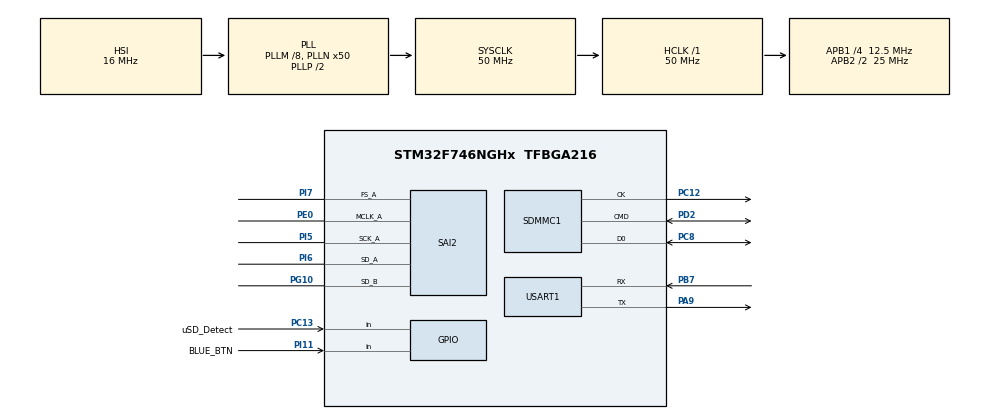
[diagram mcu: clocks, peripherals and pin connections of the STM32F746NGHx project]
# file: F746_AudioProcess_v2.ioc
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Dma.Request0=SDMMC1_RX
Dma.Request1=SDMMC1_TX
Dma.Request2=SAI2_A
Dma.Request3=SAI2_B
Dma.SAI2_A.2.Direction=DMA_MEMORY_TO_PERIPH
Dma.SAI2_A.2.FIFOMode=DMA_FIFOMODE_DISABLE
Dma.SAI2_A.2.Instance=DMA2_Stream4
Dma.SAI2_A.2.MemDataAlignment=DMA_MDATAALIGN_BYTE
Dma.SAI2_A.2.MemInc=DMA_MINC_ENABLE
Dma.SAI2_A.2.Mode=DMA_CIRCULAR
Dma.SAI2_A.2.PeriphDataAlignment=DMA_PDATAALIGN_BYTE
Dma.SAI2_A.2.PeriphInc=DMA_PINC_DISABLE
Dma.SAI2_A.2.Priority=DMA_PRIORITY_LOW
Dma.SAI2_B.3.Direction=DMA_PERIPH_TO_MEMORY
Dma.SAI2_B.3.FIFOMode=DMA_FIFOMODE_DISABLE
Dma.SAI2_B.3.Instance=DMA2_Stream7
Dma.SAI2_B.3.MemDataAlignment=DMA_MDATAALIGN_HALFWORD
Dma.SAI2_B.3.MemInc=DMA_MINC_ENABLE
Dma.SAI2_B.3.Mode=DMA_CIRCULAR
Dma.SAI2_B.3.PeriphDataAlignment=DMA_PDATAALIGN_HALFWORD
Dma.SAI2_B.3.PeriphInc=DMA_PINC_DISABLE
Dma.SAI2_B.3.Priority=DMA_PRIORITY_LOW
Dma.SDMMC1_RX.0.Direction=DMA_PERIPH_TO_MEMORY
Dma.SDMMC1_RX.0.FIFOMode=DMA_FIFOMODE_ENABLE
Dma.SDMMC1_RX.0.FIFOThreshold=DMA_FIFO_THRESHOLD_FULL
Dma.SDMMC1_RX.0.Instance=DMA2_Stream3
Dma.SDMMC1_RX.0.MemBurst=DMA_MBURST_INC4
Dma.SDMMC1_RX.0.MemDataAlignment=DMA_MDATAALIGN_WORD
Dma.SDMMC1_RX.0.MemInc=DMA_MINC_ENABLE
Dma.SDMMC1_RX.0.Mode=DMA_PFCTRL
Dma.SDMMC1_RX.0.PeriphBurst=DMA_PBURST_INC4
Dma.SDMMC1_RX.0.PeriphDataAlignment=DMA_PDATAALIGN_WORD
Dma.SDMMC1_RX.0.PeriphInc=DMA_PINC_DISABLE
Dma.SDMMC1_RX.0.Priority=DMA_PRIORITY_LOW
Dma.SDMMC1_TX.1.Direction=DMA_MEMORY_TO_PERIPH
Dma.SDMMC1_TX.1.FIFOMode=DMA_FIFOMODE_ENABLE
Dma.SDMMC1_TX.1.FIFOThreshold=DMA_FIFO_THRESHOLD_FULL
Dma.SDMMC1_TX.1.Instance=DMA2_Stream6
Dma.SDMMC1_TX.1.MemBurst=DMA_MBURST_INC4
Dma.SDMMC1_TX.1.MemDataAlignment=DMA_MDATAALIGN_WORD
Dma.SDMMC1_TX.1.MemInc=DMA_MINC_ENABLE
Dma.SDMMC1_TX.1.Mode=DMA_PFCTRL
Dma.SDMMC1_TX.1.PeriphBurst=DMA_PBURST_INC4
Dma.SDMMC1_TX.1.PeriphDataAlignment=DMA_PDATAALIGN_WORD
Dma.SDMMC1_TX.1.PeriphInc=DMA_PINC_DISABLE
Dma.SDMMC1_TX.1.Priority=DMA_PRIORITY_LOW
FATFS.BSP.number=1
FATFS.USE_DMA_CODE_SD=1
FATFS0.BSP.STBoard=false
FATFS0.BSP.api=Unknown
FATFS0.BSP.instance=PC13
FATFS0.BSP.ip=GPIO
FATFS0.BSP.mode=Input
FATFS0.BSP.name=Detect_SDIO
FATFS0.BSP.solution=PC13
Mcu.Family=STM32F7
Mcu.Name=STM32F746NGHx
Mcu.Package=TFBGA216
NVIC.DMA2_Stream3_IRQn=true\:0\:0\:false\:false\:true\:false\:true\:true
NVIC.DMA2_Stream4_IRQn=true\:0\:0\:false\:false\:true\:false\:true\:true
NVIC.DMA2_Stream6_IRQn=true\:0\:0\:false\:false\:true\:false\:true\:true
NVIC.DMA2_Stream7_IRQn=true\:0\:0\:false\:false\:true\:false\:true\:true
NVIC.PriorityGroup=NVIC_PRIORITYGROUP_4
NVIC.SDMMC1_IRQn=true\:0\:0\:false\:false\:true\:true\:true\:true
PA13.Mode=Serial_Wire
PA13.Signal=SYS_JTMS-SWDIO
PA14.Mode=Serial_Wire
PA14.Signal=SYS_JTCK-SWCLK
PA9.Mode=Asynchronous
PA9.Signal=USART1_TX
PB7.Mode=Asynchronous
PB7.Signal=USART1_RX
PC12.Mode=SD_1_bit
PC12.Signal=SDMMC1_CK
PC13.GPIO_Label=uSD_Detect
PC13.Signal=GPIO_Input
PC14/OSC32_IN.Mode=LSE-External-Oscillator
PC14/OSC32_IN.Signal=RCC_OSC32_IN
PC15/OSC32_OUT.Mode=LSE-External-Oscillator
PC15/OSC32_OUT.Signal=RCC_OSC32_OUT
PC8.Mode=SD_1_bit
PC8.Signal=SDMMC1_D0
PD2.Mode=SD_1_bit
PD2.Signal=SDMMC1_CMD
PE0.Mode=SAI_A_MasterWithClock
PE0.Signal=SAI2_MCLK_A
PG10.Mode=SAI_B_SyncSlave
PG10.Signal=SAI2_SD_B
PH0/OSC_IN.Mode=HSE-External-Oscillator
PH0/OSC_IN.Signal=RCC_OSC_IN
PH1/OSC_OUT.Mode=HSE-External-Oscillator
PH1/OSC_OUT.Signal=RCC_OSC_OUT
PI11.GPIO_Label=BLUE_BTN
PI11.Signal=GPIO_Input
PI5.Mode=SAI_A_MasterWithClock
PI5.Signal=SAI2_SCK_A
PI6.Mode=SAI_A_MasterWithClock
PI6.Signal=SAI2_SD_A
PI7.Mode=SAI_A_MasterWithClock
PI7.Signal=SAI2_FS_A
ProjectManager.HeapSize=0x400
ProjectManager.StackSize=0x800
ProjectManager.TargetToolchain=CMake
RCC.AHBFreq_Value=50000000
RCC.APB1CLKDivider=RCC_HCLK_DIV4
RCC.APB1Freq_Value=12500000
RCC.APB1TimFreq_Value=25000000
RCC.APB2CLKDivider=RCC_HCLK_DIV2
RCC.APB2Freq_Value=25000000
RCC.APB2TimFreq_Value=50000000
RCC.CortexFreq_Value=50000000
RCC.HCLKFreq_Value=50000000
RCC.HSE_VALUE=25000000
RCC.HSI_VALUE=16000000
RCC.PLLM=8
RCC.PLLN=50
RCC.PLLSAIN=50
RCC.PLLSourceVirtual=RCC_PLLSOURCE_HSI
RCC.SYSCLKFreq_VALUE=50000000
RCC.SYSCLKSource=RCC_SYSCLKSOURCE_PLLCLK
RCC.USBFreq_Value=50000000
RCC.VCOOutputFreq_Value=100000000
SAI2.ErrorAudioFreq-SAI_A_MasterWithClock=56.25 %
SAI2.Instance-SAI_A_MasterWithClock=SAI$Index_Block_A
SAI2.Instance-SAI_B_SyncSlave=SAI$Index_Block_B
SAI2.MClockEnable-SAI_A_MasterWithClock=SAI_MASTERCLOCK_ENABLE
SAI2.RealAudioFreq-SAI_A_MasterWithClock=300.0 KHz
SAI2.VirtualMode-SAI_A_MasterWithClock=VM_MASTER
SAI2.VirtualMode-SAI_B_SyncSlave=VM_SLAVE
USART1.VirtualMode-Asynchronous=VM_ASYNC
VP_FATFS_VS_SDIO.Mode=SDIO
VP_TIM1_VS_ClockSourceINT.Mode=Internal
board=STM32F746G-DISCO

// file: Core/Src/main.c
/* USER CODE BEGIN Header */
/**
 ******************************************************************************
 * @file           : main.c
 * @brief          : Main program body
 ******************************************************************************
 * @attention
 *
 * Copyright (c) 2024 STMicroelectronics.
 * All rights reserved.
 *
 * This software is licensed under terms that can be found in the LICENSE file
 * in the root directory of this software component.
 * If no LICENSE file comes with this software, it is provided AS-IS.
 *
 ******************************************************************************
 */
/* USER CODE END Header */
#include "main.h"
#include "dma.h"
#include "fatfs.h"
#include "sai.h"
#include "sdmmc.h"
#include "tim.h"
#include "usart.h"
#include "gpio.h"

/* USER CODE BEGIN Includes */
#include <string.h>
#include "wavutil.h"
/* USER CODE END Includes */

/* USER CODE BEGIN PV */
char *msg;
FRESULT fres;
AUDIO_IN_BufferTypeDef BufferInCtl;
AUDIO_OUT_BufferTypeDef BufferOutCtl;
WAVE_FormatTypeDef WaveFormat;
/* USER CODE END PV */

void SystemClock_Config(void);
void PeriphCommonClock_Config(void);

int main(void)
{

  /* MCU Configuration--------------------------------------------------------*/

  /* Reset of all peripherals, Initializes the Flash interface and the Systick. */
  HAL_Init();

  /* Configure the system clock */
  SystemClock_Config();

  /* Configure the peripherals common clocks */
  PeriphCommonClock_Config();

  /* Initialize all configured peripherals */
  MX_GPIO_Init();
  MX_DMA_Init();
  MX_SDMMC1_SD_Init();
  MX_TIM1_Init();
  MX_SAI2_Init();
  MX_USART1_UART_Init();
  MX_FATFS_Init();
  /* USER CODE BEGIN 2 */
  char *msg = "==== STM32F746-DISCO Audio Recording Test ====\n";
  HAL_UART_Transmit(&huart1, (uint8_t *)msg, strlen(msg), 0xFFF);
  if (f_mount(&SDFatFS, (TCHAR const *)SDPath, 0) != FR_OK)
  {
    msg = "SD Mount ERROR\n";
    HAL_UART_Transmit(&huart1, (uint8_t *)msg, strlen(msg), 0xFFF);
    Error_Handler();
  }
  else
  {
    msg = "SD Mount SUCCESS\n";
    HAL_UART_Transmit(&huart1, (uint8_t *)msg, strlen(msg), 0xFFF);
  }
  /* USER CODE END 2 */

  /* Infinite loop */
  /* USER CODE BEGIN WHILE */
  while (1)
  {
    msg = "==== Press Blue Button To Start Initializing ====\n";
    HAL_UART_Transmit(&huart1, (uint8_t *)msg, strlen(msg), 0xFFF);
    while (!HAL_GPIO_ReadPin(BLUE_BTN_GPIO_Port, BLUE_BTN_Pin))
    {
      // wait for blue button to be pressed
    }

    if (Audio_Rec_Start() != AUDIO_ERROR_NONE)
    {
      msg = "Writing Header ERROR\n";
      HAL_UART_Transmit(&huart1, (uint8_t *)msg, strlen(msg), 0xFFF);
      Error_Handler();
    }
    else
    {
      msg = "Writing Header Finished\n";
      HAL_UART_Transmit(&huart1, (uint8_t *)msg, strlen(msg), 0xFFF);

      msg = "Start Recording...\n";
      HAL_UART_Transmit(&huart1, (uint8_t *)msg, strlen(msg), 0xFFF);
      while (BufferInCtl.fptr <= REC_SAMPLE_LENGTH)
      {
        if (Audio_Rec_Process() != AUDIO_ERROR_NONE)
        {
          msg = "Recording ERROR\n";
          HAL_UART_Transmit(&huart1, (uint8_t *)msg, strlen(msg), 0xFFF);
          break;
        };
      }
    }
    msg = "Recording Finished\n";
    HAL_UART_Transmit(&huart1, (uint8_t *)msg, strlen(msg), 0xFFF);
    f_close(&SDFile); // close file

    msg = "Start To Playback File...\n";
    HAL_UART_Transmit(&huart1, (uint8_t *)msg, strlen(msg), 0xFFF);
    if (AUDIO_PLAYER_Start() != AUDIO_ERROR_NONE)
    {
      msg = "Playback Init ERROR\n";
      HAL_UART_Transmit(&huart1, (uint8_t *)msg, strlen(msg), 0xFFF);
      Error_Handler();
    }
    else
    {
      msg = "Start Playing\n";
      HAL_UART_Transmit(&huart1, (uint8_t *)msg, strlen(msg), 0xFFF);
      while (BufferOutCtl.fptr < WaveFormat.FileSize)
      {
        if (AUDIO_PLAYER_Process() != AUDIO_ERROR_NONE)
        {
          msg = "Playback ERROR\n";
          HAL_UART_Transmit(&huart1, (uint8_t *)msg, strlen(msg), 0xFFF);
          break;
        }
      }
    }

    msg = "Playback Finished\n";
    HAL_UART_Transmit(&huart1, (uint8_t *)msg, strlen(msg), 0xFFF);
    if (AUDIO_PLAYER_Stop() != AUDIO_ERROR_NONE)
    {
      msg = "Stop Player ERROR\n";
      HAL_UART_Transmit(&huart1, (uint8_t *)msg, strlen(msg), 0xFFF);
      Error_Handler();
    }
    f_close(&SDFile); // close file
    /* USER CODE END WHILE */

  }
}

void SystemClock_Config(void)
{
  RCC_OscInitTypeDef RCC_OscInitStruct = {0};
  RCC_ClkInitTypeDef RCC_ClkInitStruct = {0};

  /** Configure LSE Drive Capability
  */
  HAL_PWR_EnableBkUpAccess();

  /** Configure the main internal regulator output voltage
  */
  __HAL_RCC_PWR_CLK_ENABLE();
  __HAL_PWR_VOLTAGESCALING_CONFIG(PWR_REGULATOR_VOLTAGE_SCALE3);

  /** Initializes the RCC Oscillators according to the specified parameters
  * in the RCC_OscInitTypeDef structure.
  */
  RCC_OscInitStruct.OscillatorType = RCC_OSCILLATORTYPE_HSI;
  RCC_OscInitStruct.HSIState = RCC_HSI_ON;
  RCC_OscInitStruct.HSICalibrationValue = RCC_HSICALIBRATION_DEFAULT;
  RCC_OscInitStruct.PLL.PLLState = RCC_PLL_ON;
  RCC_OscInitStruct.PLL.PLLSource = RCC_PLLSOURCE_HSI;
  RCC_OscInitStruct.PLL.PLLM = 8;
  RCC_OscInitStruct.PLL.PLLN = 50;
  RCC_OscInitStruct.PLL.PLLP = RCC_PLLP_DIV2;
  RCC_OscInitStruct.PLL.PLLQ = 2;
  if (HAL_RCC_OscConfig(&RCC_OscInitStruct) != HAL_OK)
  {
    Error_Handler();
  }

  /** Initializes the CPU, AHB and APB buses clocks
  */
  RCC_ClkInitStruct.ClockType = RCC_CLOCKTYPE_HCLK|RCC_CLOCKTYPE_SYSCLK
                              |RCC_CLOCKTYPE_PCLK1|RCC_CLOCKTYPE_PCLK2;
  RCC_ClkInitStruct.SYSCLKSource = RCC_SYSCLKSOURCE_PLLCLK;
  RCC_ClkInitStruct.AHBCLKDivider = RCC_SYSCLK_DIV1;
  RCC_ClkInitStruct.APB1CLKDivider = RCC_HCLK_DIV4;
  RCC_ClkInitStruct.APB2CLKDivider = RCC_HCLK_DIV2;

  if (HAL_RCC_ClockConfig(&RCC_ClkInitStruct, FLASH_LATENCY_1) != HAL_OK)
  {
    Error_Handler();
  }
}

void PeriphCommonClock_Config(void)
{
  RCC_PeriphCLKInitTypeDef PeriphClkInitStruct = {0};

  /** Initializes the peripherals clock
  */
  PeriphClkInitStruct.PeriphClockSelection = RCC_PERIPHCLK_SAI2;
  PeriphClkInitStruct.PLLSAI.PLLSAIN = 50;
  PeriphClkInitStruct.PLLSAI.PLLSAIR = 2;
  PeriphClkInitStruct.PLLSAI.PLLSAIQ = 2;
  PeriphClkInitStruct.PLLSAI.PLLSAIP = RCC_PLLSAIP_DIV2;
  PeriphClkInitStruct.PLLSAIDivQ = 1;
  PeriphClkInitStruct.PLLSAIDivR = RCC_PLLSAIDIVR_2;
  PeriphClkInitStruct.Sai2ClockSelection = RCC_SAI2CLKSOURCE_PLLSAI;
  if (HAL_RCCEx_PeriphCLKConfig(&PeriphClkInitStruct) != HAL_OK)
  {
    Error_Handler();
  }
}

void Error_Handler(void)
{
  __disable_irq();
  while (1)
  {
  }
}
